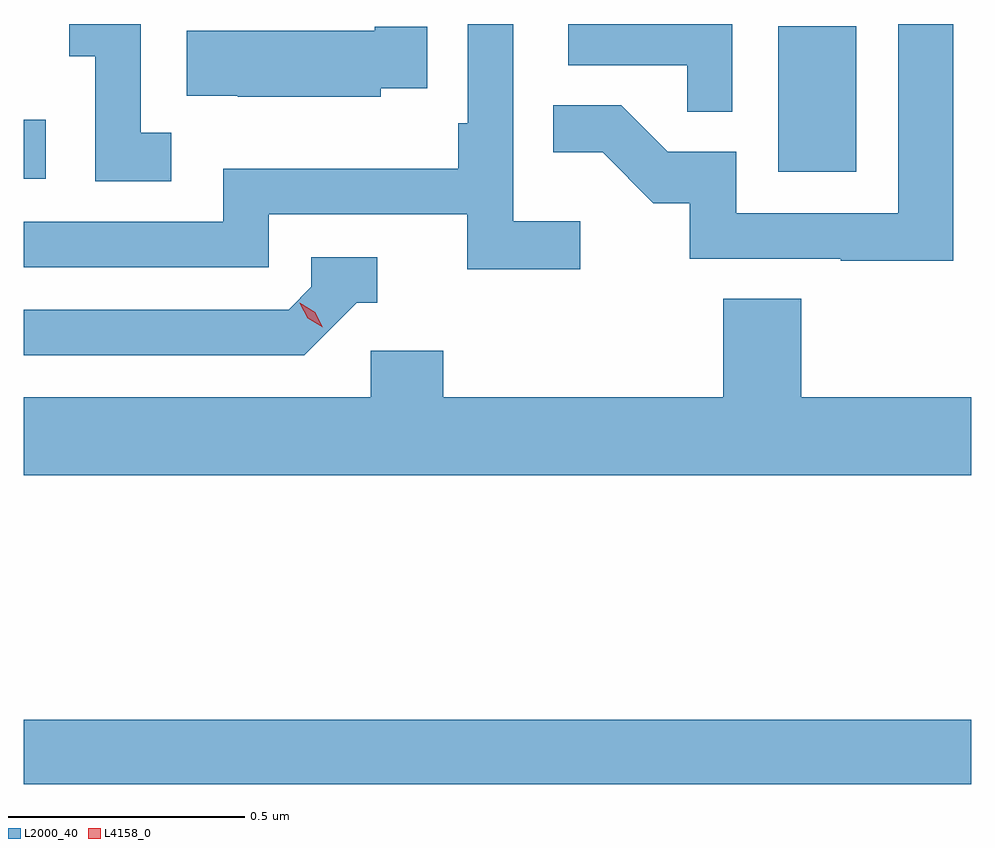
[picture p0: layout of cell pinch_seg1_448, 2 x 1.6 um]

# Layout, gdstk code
import gdstk
lib = gdstk.Library(unit=1e-6, precision=1e-09)
def R(c, l, rs):  # rectangles x0, y0, x1, y1
    for r in rs: c.add(gdstk.rectangle(r[:2], r[2:], *l))
def P(c, l, *ps):  # polygons
    for p in ps: c.add(gdstk.Polygon(p, *l))
L2000_40 = (2000, 40)
L4158_0 = (4158, 0)

pinch_seg1_448 = lib.new_cell('pinch_seg1_448')
R(pinch_seg1_448, L2000_40, [(946.541,521.776,948.541,521.912), (946.541,523.053,946.588,523.178), (948.134,523.068,948.298,523.375)])
P(pinch_seg1_448, L2000_40, [(946.852,523.151),(946.788,523.151),(946.788,523.38),(946.637,523.38),(946.637,523.312),(946.692,523.312),(946.692,523.048),(946.852,523.048)],
  [(948.503,523.38),(948.387,523.38),(948.387,522.981),(948.045,522.981),(948.045,523.11),(947.9,523.11),(947.802,523.208),(947.659,523.208),(947.659,523.109),(947.763,523.109),(947.87,523.002),(947.947,523.002),(947.947,522.885),(948.265,522.885),(948.265,522.88),(948.503,522.88)],
  [(947.716,522.964),(947.574,522.964),(947.574,523.38),(947.478,523.38),(947.478,523.171),(947.458,523.171),(947.458,523.075),(946.962,523.075),(946.962,522.963),(946.541,522.963),(946.541,522.867),(947.058,522.867),(947.058,522.978),(947.477,522.978),(947.477,522.862),(947.716,522.862)],
  [(948.036,523.38),(947.69,523.38),(947.69,523.293),(947.941,523.293),(947.941,523.195),(948.036,523.195)],
  [(947.295,523.244),(947.393,523.244),(947.393,523.374),(947.282,523.374),(947.282,523.366),(946.885,523.366),(946.885,523.229),(946.993,523.229),(946.993,523.226),(947.295,523.226)],
  [(947.244,522.792),(947.287,522.792),(947.287,522.888),(947.148,522.888),(947.148,522.825),(947.1,522.777),(946.541,522.777),(946.541,522.681),(947.133,522.681)],
  [(948.541,522.592),(948.182,522.592),(948.182,522.8),(948.017,522.8),(948.017,522.592),(947.426,522.592),(947.426,522.69),(947.274,522.69),(947.274,522.592),(946.541,522.592),(946.541,522.428),(948.541,522.428)])
P(pinch_seg1_448, L4158_0, [(947.172,522.74),(947.141,522.759),(947.124,522.791),(947.124,522.792),(947.124,522.792),(947.156,522.772),(947.172,522.74),(947.172,522.74)])

lib.write_gds('pinch_seg1_448.gds')
